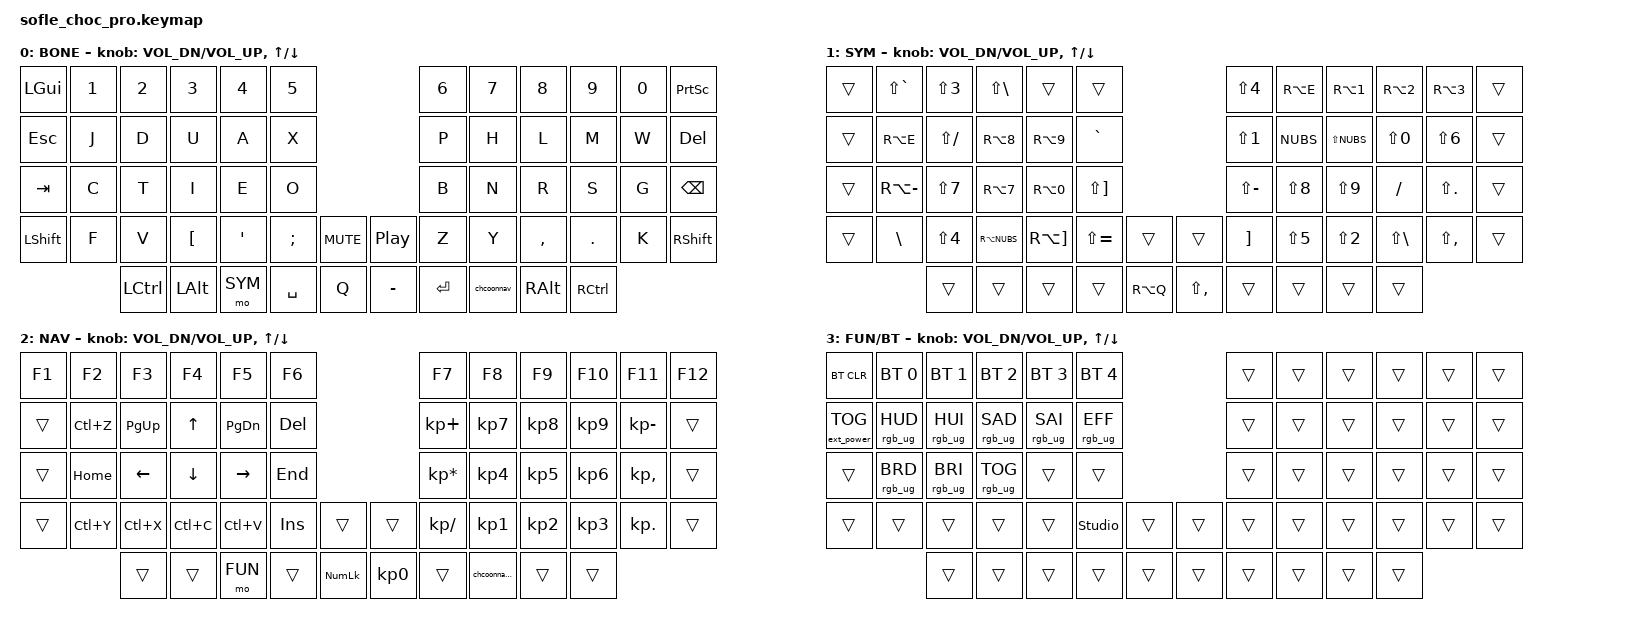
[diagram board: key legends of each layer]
/*
* Copyright (c) 2020 The ZMK Contributors
*
* SPDX-License-Identifier: MIT
*/

#include <behaviors.dtsi>
#include <dt-bindings/zmk/keys.h>
#include <dt-bindings/zmk/bt.h>
#include <dt-bindings/zmk/rgb.h>
#include <dt-bindings/zmk/ext_power.h>

/* Layer-Definitionen */
#define BASE 0
#define SYM  1
#define NAV  2
#define FUN  3

/ {

    macros {
        chcoonnav: chcoonnav {
            compatible = "zmk,behavior-macro";
            #binding-cells = <0>;
            wait-ms = <0>;
            tap-ms = <0>;
            bindings
                = <&macro_tap &tog NAV>
                , <&macro_tap &rgb_ug RGB_COLOR_HSB(37,100,86)>
                ;
        };

        chcoonnavex: chcoonnavex {
            compatible = "zmk,behavior-macro";
            #binding-cells = <0>;
            wait-ms = <0>;
            tap-ms = <0>;
            bindings
                = <&macro_tap &tog NAV>
                , <&macro_tap &rgb_ug RGB_COLOR_HSB(123, 68, 66)>
                ;
        };
    };

    keymap {
        compatible = "zmk,keymap";

        /* LAYER 0: BONE BASE (Deutsch)
      // ------------------------------------------------------------------------------------------------------------
      // | LGUI  |  1  |  2  |  3   |  4   |  5   |                   |  6   |  7    |  8    |  9   |   0   | PSCRN |
      // | ESC   |  j  |  d  |  u   |  a   |  x   |                   |  p   |  h    |  l    |  m   |   w   |   DEL |
      // | TAB   |  c  |  t  |  i   |  e   |  o   |                   |  b   |  n    |  r    |  s   |   g   | BKSPC |
      // | LSHIFT|  f  |  v  |  ü   |  ä   |  ö   |  MUTE  |  | PLAY  |  y   |  z    |  ,    |  .   |   k   |RSHIFT |
      //               |LCTRL|LALT  | SYM  | SPACE|    q   |  |   ß   | ENTER| NAV   |RALT   |RCTRL |
         */
        default_layer {
            display-name = "BONE";
            bindings = <
&kp LGUI          &kp N1            &kp N2            &kp N3            &kp N4            &kp N5                                                &kp N6            &kp N7            &kp N8            &kp N9            &kp N0            &kp PSCRN
&kp ESC           &kp J             &kp D             &kp U             &kp A             &kp X                                                 &kp P             &kp H             &kp L             &kp M             &kp W             &kp DEL
&kp TAB           &kp C             &kp T             &kp I             &kp E             &kp O                                                 &kp B             &kp N             &kp R             &kp S             &kp G             &kp BSPC
&kp LSHIFT        &kp F             &kp V             &kp LBKT          &kp SQT           &kp SEMI          &kp C_MUTE        &kp C_PP          &kp Z             &kp Y             &kp COMMA         &kp DOT           &kp K             &kp RSHIFT
                                    &kp LCTRL         &kp LALT          &mo SYM           &kp SPACE         &kp Q             &kp MINUS         &kp ENTER         &chcoonnav        &kp RALT          &kp RCTRL
            >;
            /* Encoder: Links = Lautstärke, Rechts = Scrollen */
            sensor-bindings = <&inc_dec_kp C_VOL_DN C_VOL_UP &inc_dec_kp UP DOWN>;
        };

        /* LAYER 2: SYM (Bone/Neo Ebene 3)
      // ------------------------------------------------------------------------------------------------------------
      // |       |  °  |  §  |  '   |  ??  |  ??  |                   |  $   |  €    |  ¹    |  ²   |   ³   |       |
      // |       |  €  |  _  |  [   |  ]   |  ^   |                   |  !   |  <    |  >    |  =   |  &    |       |
      // |       |  \  |  /  |  {   |  }   |  *   |                   |  ?   |  (    |  )    |  -   |  :    |       |
      // |       |  #  |  $  |  |   |  ~   |  `   |        |  |       |  +   |  %    |  "    |  '   |  ;    |       |
      //               |     |      | SYM  |      |   @    |  |   ;   |      | NAV   |       |      |
         */
        sym_layer {
            display-name = "SYM";
            bindings = <
&trans            &kp LS(GRAVE)     &kp LS(N3)        &kp LS(BSLH)      &trans            &trans                                                &kp LS(N4)        &kp RA(E)         &kp RA(N1)        &kp RA(N2)        &kp RA(N3)        &trans
&trans            &kp RA(E)         &kp LS(FSLH)      &kp RA(N8)        &kp RA(N9)        &kp GRAVE                                             &kp LS(N1)        &kp NUBS          &kp LS(NUBS)      &kp LS(N0)        &kp LS(N6)        &trans
&trans            &kp RA(MINUS)     &kp LS(N7)        &kp RA(N7)        &kp RA(N0)        &kp LS(RBKT)                                          &kp LS(MINUS)     &kp LS(N8)        &kp LS(N9)        &kp FSLH          &kp LS(DOT)       &trans
&trans            &kp BSLH          &kp LS(N4)        &kp RA(NUBS)      &kp RA(RBKT)      &kp LS(EQUAL)     &trans            &trans            &kp RBKT          &kp LS(N5)        &kp LS(N2)        &kp LS(BSLH)      &kp LS(COMMA)     &trans
                                    &trans            &trans            &trans            &trans            &kp RA(Q)         &kp LS(COMMA)     &trans            &trans            &trans            &trans
            >;
            /* Encoder: Links = Lautstärke, Rechts = Scrollen */
            sensor-bindings = <&inc_dec_kp C_VOL_DN C_VOL_UP &inc_dec_kp UP DOWN>;
        };

        /* LAYER 3: NAV (Bone/Neo Ebene 4)
      // ------------------------------------------------------------------------------------------------------------
      // |   F1  |  F2  |  F3  |  F4   |  F5   |  F6  |                |  F7  |  F8  |  F9   |  F10 |  F11  |  F12  |
      // |       | REDO | PG_UP|   ^   | PG_DW | DEL  |                |  +   |   7  |   8   |  9   |  -    |       |
      // |       | POS1 | <-   |   v   |  ->   | ENDE |                |  *   |   4  |   5   |  6   |  ,    |       |
      // |       | UNDO | CUT  | COPY  | PASTE | EINFG|      |  |      |  /   |   1  |   2   |  3   |  .    |       |
      //                |      |       |  FUN  |      |NUMLCK|  |   0  |      |  NAV |       |      |
         */
        nav_layer {
            display-name = "NAV";
            bindings = <
&kp F1            &kp F2            &kp F3            &kp F4            &kp F5            &kp F6                                                &kp F7            &kp F8            &kp F9            &kp F10           &kp F11           &kp F12
&trans            &kp LC(Z)         &kp PG_UP         &kp UP            &kp PG_DN         &kp DEL                                               &kp KP_PLUS       &kp KP_N7         &kp KP_N8         &kp KP_N9         &kp KP_MINUS      &trans
&trans            &kp HOME          &kp LEFT          &kp DOWN          &kp RIGHT         &kp END                                               &kp KP_MULTIPLY   &kp KP_N4         &kp KP_N5         &kp KP_N6         &kp KP_COMMA      &trans
&trans            &kp LC(Y)         &kp LC(X)         &kp LC(C)         &kp LC(V)         &kp INS           &trans            &trans            &kp KP_DIVIDE     &kp KP_N1         &kp KP_N2         &kp KP_N3         &kp KP_DOT        &trans
                                    &trans            &trans            &mo FUN           &trans            &kp KP_NLCK       &kp KP_N0         &trans            &chcoonnavex      &trans            &trans
            >;
            /* Encoder: Links = Lautstärke, Rechts = Scrollen */
            sensor-bindings = <&inc_dec_kp C_VOL_DN C_VOL_UP &inc_dec_kp UP DOWN>;
        };

        /* LAYER 4: FUN (Bluetooth & F-Keys)
      // ----------------------------------------------------------------------------------------------------------------------------
      // | BTCLR  |  BT1    |  BT2    |   BT3   |   BT4   |   BT5   |                  |      |      |       |      |       |       |
      // | EXTPWR | RGB_HUD | RGB_HUI | RGB_SAD | RGB_SAI | RGB_EFF |                  |      |      |       |      |       |       |
      // |        | RGB_BRD | RGB_BRI | RGB_TOG |         |         |                  |      |      |       |      |       |       |
      // |        |         |         |         |         |StudioUnl|         | |      |      |      |       |      |       |       |
      //                    |         |         |         |         |         | |      |      |      |       |      |
        */
        fun_layer {
            display-name = "FUN/BT";
            bindings = <
&bt BT_CLR        &bt BT_SEL 0      &bt BT_SEL 1      &bt BT_SEL 2      &bt BT_SEL 3      &bt BT_SEL 4                                          &trans            &trans            &trans            &trans            &trans            &trans
&ext_power EP_TOG &rgb_ug RGB_HUD   &rgb_ug RGB_HUI   &rgb_ug RGB_SAD   &rgb_ug RGB_SAI   &rgb_ug RGB_EFF                                       &trans            &trans            &trans            &trans            &trans            &trans
&trans            &rgb_ug RGB_BRD   &rgb_ug RGB_BRI   &rgb_ug RGB_TOG   &trans            &trans                                                &trans            &trans            &trans            &trans            &trans            &trans
&trans            &trans            &trans            &trans            &trans            &studio_unlock    &trans            &trans            &trans            &trans            &trans            &trans            &trans            &trans
                                    &trans            &trans            &trans            &trans            &trans            &trans            &trans            &trans            &trans            &trans
            >;
            /* Encoder: Links = Lautstärke, Rechts = Scrollen */
            sensor-bindings = <&inc_dec_kp C_VOL_DN C_VOL_UP &inc_dec_kp UP DOWN>;
        };
    };
};
